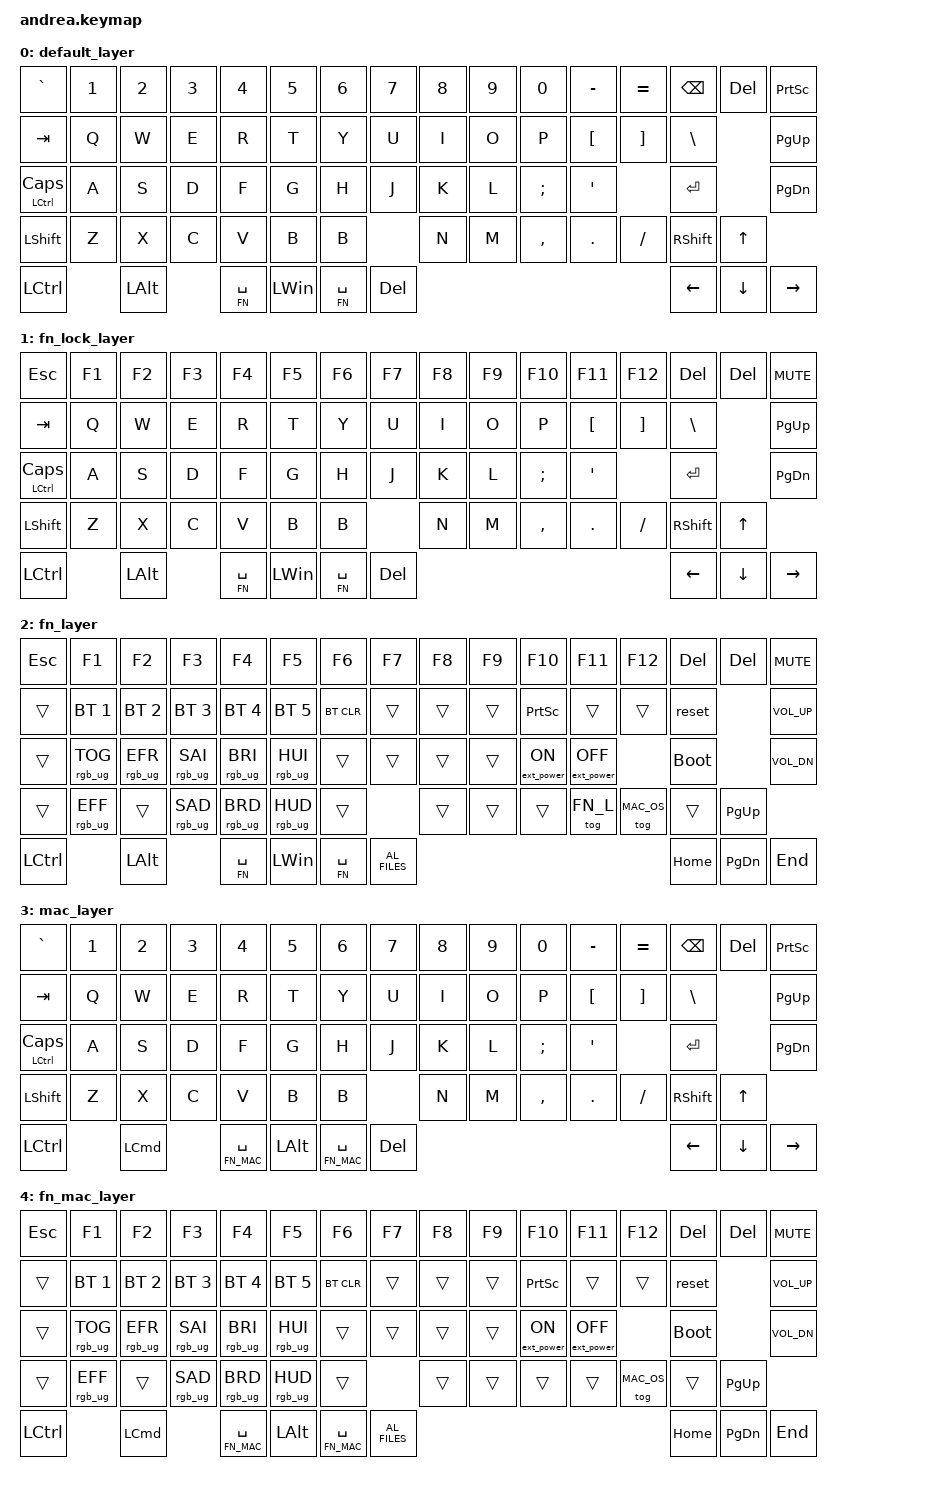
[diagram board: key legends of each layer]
#include <behaviors.dtsi>
#include <dt-bindings/zmk/keys.h>
#include <dt-bindings/zmk/bt.h>
#include <dt-bindings/zmk/outputs.h>
#include <dt-bindings/zmk/rgb.h>
#include <dt-bindings/zmk/ext_power.h>

#define WIN_OS 0
#define FN_L   1
#define FN     2
#define MAC_OS 3
#define FN_MAC 4

/ {
	keymap {
		compatible = "zmk,keymap";

		default_layer {
// -----------------------------------------------------------------------------------------
//   | ESC     | 1     | 2     | 3     | 4     | 5     | 6     | 7     | 8     | 9     | 0     | -     | =     | BSPC  | BSPC  | PRSC  |
//   | TAB     | Q     | W     | E     | R     | T     | Y `   | U     | I     | O     | P     | [     | ]     | \     |         PGUP  |
//   |MT(SPACE)| A     | S     | D     | F     | G     | H     | J     | K     | L     | ;     | '     |         ENTER |         PGDN  |
//   | SHIFT   | Z     | X     | C     | V     | B     | B     | N     | M     | ,     | .     | /     | SHIFT |         UP    |
//   | CTRL    |         ALT   |  LT(SPACE, 1) | BSPC  |   LT(SPACE,1) | ALT   |                                 LEFT  | DOWN  | RIGHT |

			bindings = <
    &kp GRAVE        &kp NUM_1        &kp NUM_2     &kp NUM_3     &kp NUM_4     &kp NUM_5        &kp NUM_6        &kp NUM_7        &kp NUM_8        &kp NUM_9        &kp NUM_0        &kp MINUS        &kp EQL          &kp BKSP         &kp DEL         &kp PSCRN
    &kp TAB          &kp Q            &kp W         &kp E         &kp R         &kp T            &kp Y            &kp U            &kp I            &kp O            &kp P            &kp LBKT         &kp RBKT         &kp BSLH                         &kp PG_UP
    &mt LCTRL CAPS   &kp A            &kp S         &kp D         &kp F         &kp G            &kp H            &kp J            &kp K            &kp L            &kp SCLN         &kp QUOT                          &kp ENTER                        &kp PG_DN
    &kp LSHFT        &kp Z            &kp X         &kp C         &kp V         &kp B            &kp B            &kp N            &kp M            &kp CMMA         &kp DOT          &kp FSLH         &kp RSHFT                       &kp UP
    &kp LCTRL                         &kp LALT                    &lt FN SPACE  &kp LWIN         &lt FN SPACE     &kp DEL                                                                                             &kp LEFT         &kp DOWN        &kp RIGHT
			>;
			
		};

            fn_lock_layer {
// -----------------------------------------------------------------------------------------
//   | GRAVE | F1      | F2       |  F3     | F4      | F5       | F6    | F7    | F8    | F9    | F10   | F11   | F12   | BOOTLOADER  | TRANS | MUTE  |
//   | BT_CLR| BT_SEL 1| BT_SEL 2 | BT_SEL 3| BT_SEL 4| BT_SEL 5 | PSCR  | SCLK  | PAUSE | TRANS | TRANS | TRANS | TRANS | RESET       |         NEXT T|
//   | TRANS | RGB_TOG | RGB_EFR  | RGB_SAI | RGB_BRI | RGB_HUI  | INS   | HOME  | PG_UP | TRANS | TRANS | TRANS |       | TRANS       |         PREV T|
//   | SHIFT | RGB_EFF | TRANS    | RGB_SAD | RGB_BRD | RGB_HUD  | TRANS | DEL   | END   | PG_DN | TRANS | TRANS | TRANS |             | PG_UP |
//   | TRANS |         | GUI      |         TRANS | TRANS    |         TRANS | MENU  |                                          HOME   | PG_DN | END   |

			bindings = <
    &kp ESC          &kp F1           &kp F2           &kp F3          &kp F4                &kp F5            &kp F6             &kp F7           &kp F8           &kp F9           &kp F10           &kp F11          &kp F12          &kp DEL          &kp DEL          &kp C_MUTE
    &kp TAB          &kp Q            &kp W         &kp E         &kp R         &kp T            &kp Y            &kp U            &kp I            &kp O            &kp P            &kp LBKT         &kp RBKT         &kp BSLH                         &kp PG_UP
    &mt LCTRL CAPS   &kp A            &kp S         &kp D         &kp F         &kp G            &kp H            &kp J            &kp K            &kp L            &kp SCLN         &kp QUOT                          &kp ENTER                        &kp PG_DN
    &kp LSHFT        &kp Z            &kp X         &kp C         &kp V         &kp B            &kp B            &kp N            &kp M            &kp CMMA         &kp DOT          &kp FSLH         &kp RSHFT                       &kp UP
    &kp LCTRL                         &kp LALT                    &lt FN SPACE  &kp LWIN         &lt FN SPACE     &kp DEL                                                                                             &kp LEFT         &kp DOWN        &kp RIGHT
			>;

		};

		fn_layer {
// -----------------------------------------------------------------------------------------
//   | GRAVE | F1      | F2       |  F3     | F4      | F5       | F6    | F7    | F8    | F9    | F10   | F11   | F12   | BOOTLOADER  | TRANS | MUTE  |
//   | BT_CLR| BT_SEL 1| BT_SEL 2 | BT_SEL 3| BT_SEL 4| BT_SEL 5 | PSCR  | SCLK  | PAUSE | TRANS | TRANS | TRANS | TRANS | RESET       |         NEXT T|
//   | TRANS | RGB_TOG | RGB_EFR  | RGB_SAI | RGB_BRI | RGB_HUI  | INS   | HOME  | PG_UP | TRANS | TRANS | TRANS |       | TRANS       |         PREV T|
//   | SHIFT | RGB_EFF | TRANS    | RGB_SAD | RGB_BRD | RGB_HUD  | TRANS | DEL   | END   | PG_DN | TRANS | TRANS | TRANS |             | PG_UP |
//   | TRANS |         | GUI      |         TRANS | TRANS    |         TRANS | MENU  |                                          HOME   | PG_DN | END   |

			bindings = <
    &kp ESC          &kp F1           &kp F2           &kp F3          &kp F4                &kp F5            &kp F6             &kp F7           &kp F8           &kp F9           &kp F10           &kp F11          &kp F12          &kp DEL          &kp DEL          &kp C_MUTE
    &trans           &bt BT_SEL 1     &bt BT_SEL 2     &bt BT_SEL 3    &bt BT_SEL 4          &bt BT_SEL 5      &bt BT_CLR         &trans           &trans           &trans           &kp PSCRN         &trans           &trans           &reset                            &kp C_VOL_UP
    &trans           &rgb_ug RGB_TOG  &rgb_ug RGB_EFR  &rgb_ug RGB_SAI &rgb_ug RGB_BRI       &rgb_ug RGB_HUI   &trans             &trans           &trans           &trans           &ext_power EP_ON  &ext_power EP_OFF                 &bootloader                       &kp C_VOL_DN
    &trans           &rgb_ug RGB_EFF  &trans           &rgb_ug RGB_SAD &rgb_ug RGB_BRD       &rgb_ug RGB_HUD   &trans             &trans           &trans           &trans           &tog FN_L         &tog MAC_OS       &trans                            &kp PG_UP
    &kp LCTRL                         &kp LALT                         &lt FN SPACE          &kp LWIN          &lt FN SPACE       &kp C_AL_FILES                                                                                            &kp HOME      &kp PG_DN      &kp END        
			>;

		};

		mac_layer {
// -----------------------------------------------------------------------------------------
//   | ESC     | 1     | 2     | 3     | 4     | 5     | 6     | 7     | 8     | 9     | 0     | -     | =     | BSPC  | BSPC  | PRSC  |
//   | TAB     | Q     | W     | E     | R     | T     | Y `   | U     | I     | O     | P     | [     | ]     | \     |         PGUP  |
//   |MT(SPACE)| A     | S     | D     | F     | G     | H     | J     | K     | L     | ;     | '     |         ENTER |         PGDN  |
//   | SHIFT   | Z     | X     | C     | V     | B     | B     | N     | M     | ,     | .     | /     | SHIFT |         UP    |
//   | CTRL    |         ALT   |  LT(SPACE, 1) | BSPC  |   LT(SPACE,1) | ALT   |                                 LEFT  | DOWN  | RIGHT |

			bindings = <
    &kp GRAVE        &kp NUM_1        &kp NUM_2     &kp NUM_3     &kp NUM_4         &kp NUM_5        &kp NUM_6          &kp NUM_7        &kp NUM_8        &kp NUM_9        &kp NUM_0        &kp MINUS        &kp EQL          &kp BKSP         &kp DEL         &kp PSCRN
    &kp TAB          &kp Q            &kp W         &kp E         &kp R             &kp T            &kp Y              &kp U            &kp I            &kp O            &kp P            &kp LBKT         &kp RBKT         &kp BSLH                         &kp PG_UP
    &mt LCTRL CAPS   &kp A            &kp S         &kp D         &kp F             &kp G            &kp H              &kp J            &kp K            &kp L            &kp SCLN         &kp QUOT                          &kp ENTER                        &kp PG_DN
    &kp LSHFT        &kp Z            &kp X         &kp C         &kp V             &kp B            &kp B              &kp N            &kp M            &kp CMMA         &kp DOT          &kp FSLH         &kp RSHFT                       &kp UP
    &kp LCTRL                         &kp LCMD                    &lt FN_MAC SPACE  &kp LALT         &lt FN_MAC SPACE   &kp DEL                                                                                             &kp LEFT         &kp DOWN        &kp RIGHT
			>;
			
		};

		fn_mac_layer {
// -----------------------------------------------------------------------------------------
//   | GRAVE | F1      | F2       |  F3     | F4      | F5       | F6    | F7    | F8    | F9    | F10   | F11   | F12   | BOOTLOADER  | TRANS | MUTE  |
//   | BT_CLR| BT_SEL 1| BT_SEL 2 | BT_SEL 3| BT_SEL 4| BT_SEL 5 | PSCR  | SCLK  | PAUSE | TRANS | TRANS | TRANS | TRANS | RESET       |         NEXT T|
//   | TRANS | RGB_TOG | RGB_EFR  | RGB_SAI | RGB_BRI | RGB_HUI  | INS   | HOME  | PG_UP | TRANS | TRANS | TRANS |       | TRANS       |         PREV T|
//   | SHIFT | RGB_EFF | TRANS    | RGB_SAD | RGB_BRD | RGB_HUD  | TRANS | DEL   | END   | PG_DN | TRANS | TRANS | TRANS |             | PG_UP |
//   | TRANS |         | GUI      |         TRANS | TRANS    |         TRANS | MENU  |                                          HOME   | PG_DN | END   |

			bindings = <
    &kp ESC          &kp F1           &kp F2           &kp F3          &kp F4                &kp F5            &kp F6                 &kp F7           &kp F8           &kp F9           &kp F10           &kp F11          &kp F12          &kp DEL          &kp DEL          &kp C_MUTE
    &trans           &bt BT_SEL 1     &bt BT_SEL 2     &bt BT_SEL 3    &bt BT_SEL 4          &bt BT_SEL 5      &bt BT_CLR             &trans           &trans           &trans           &kp PSCRN         &trans           &trans           &reset                            &kp C_VOL_UP
    &trans           &rgb_ug RGB_TOG  &rgb_ug RGB_EFR  &rgb_ug RGB_SAI &rgb_ug RGB_BRI       &rgb_ug RGB_HUI   &trans                 &trans           &trans           &trans           &ext_power EP_ON  &ext_power EP_OFF                 &bootloader                       &kp C_VOL_DN
    &trans           &rgb_ug RGB_EFF  &trans           &rgb_ug RGB_SAD &rgb_ug RGB_BRD       &rgb_ug RGB_HUD   &trans                 &trans           &trans           &trans           &trans            &tog MAC_OS       &trans                           &kp PG_UP
    &kp LCTRL                         &kp LCMD                         &lt FN_MAC SPACE      &kp LALT          &lt FN_MAC SPACE       &kp C_AL_FILES                                                                                            &kp HOME      &kp PG_DN      &kp END        
			>;

		};

	}; 
};  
